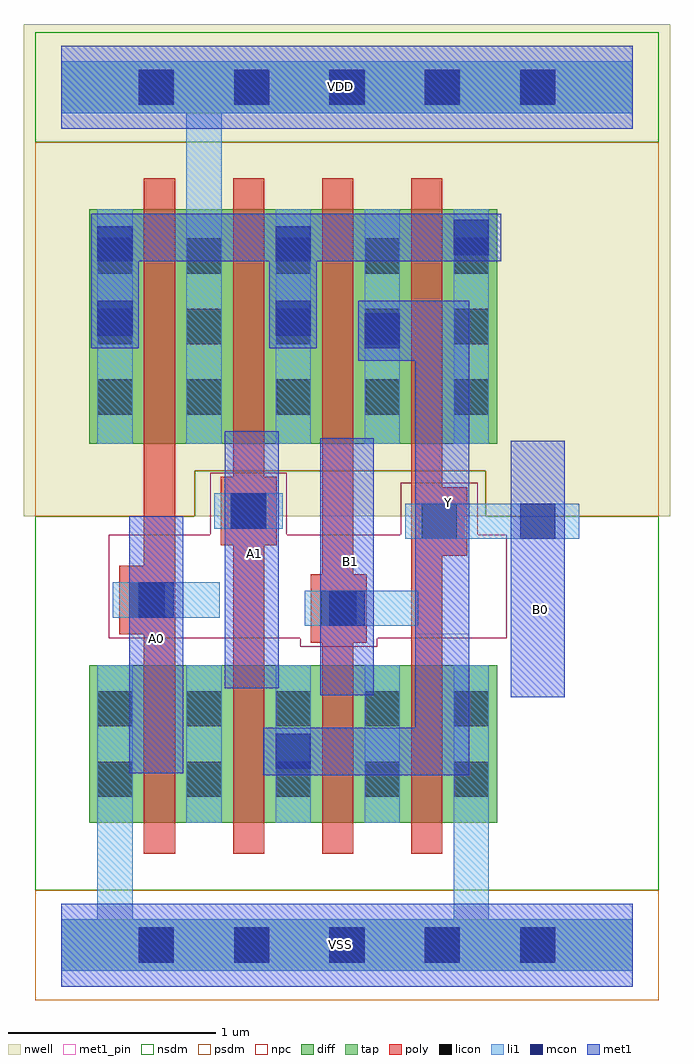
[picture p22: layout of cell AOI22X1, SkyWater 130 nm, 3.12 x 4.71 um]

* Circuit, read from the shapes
.subckt AOI22X1 A0 A1 B0 B1 VDD VSS Y
XM1 n1 A0 VSS VSS sky130_fd_pr__nfet_01v8 w=0.76 l=0.15
XM2 Y A1 n1 VSS sky130_fd_pr__nfet_01v8 w=0.76 l=0.15
XM3 n2 B1 Y VSS sky130_fd_pr__nfet_01v8 w=0.76 l=0.15
XM4 VSS B0 n2 VSS sky130_fd_pr__nfet_01v8 w=0.76 l=0.15
XM5 VDD A0 n3 VDD sky130_fd_pr__pfet_01v8 w=1.13 l=0.15
XM6 n3 A1 VDD VDD sky130_fd_pr__pfet_01v8 w=1.13 l=0.15
XM7 Y B1 n3 VDD sky130_fd_pr__pfet_01v8 w=1.13 l=0.15
XM8 n3 B0 Y VDD sky130_fd_pr__pfet_01v8 w=1.13 l=0.15
.ends

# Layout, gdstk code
import gdstk
lib = gdstk.Library(unit=1e-6, precision=1e-09)
def R(c, l, rs):  # rectangles x0, y0, x1, y1
    for r in rs: c.add(gdstk.rectangle(r[:2], r[2:], *l))
def A(c, l, x, y, w, h, nx, ny, dx, dy):  # array of equal rectangles
    R(c, l, [(x+i*dx, y+j*dy, x+i*dx+w, y+j*dy+h) for i in range(nx) for j in range(ny)])
def P(c, l, *ps):  # polygons
    for p in ps: c.add(gdstk.Polygon(p, *l))
nwell = (64, 20)
diff = (65, 20)
tap = (65, 44)
poly = (66, 20)
licon = (66, 44)
li1 = (67, 20)
mcon = (67, 44)
met1_pin = (68, 16)
met1 = (68, 20)
nsdm = (93, 44)
psdm = (94, 20)
npc = (95, 20)

pyl1con_c_cdns_751554744 = lib.new_cell('PYL1CON_C_CDNS_751554744751')
R(pyl1con_c_cdns_751554744, poly, [(-0.135,-0.165,0.135,0.165)])
R(pyl1con_c_cdns_751554744, licon, [(-0.085,-0.085,0.085,0.085)])
R(pyl1con_c_cdns_751554744, npc, [(-0.185,-0.185,0.185,0.185)])

licondiff_c_cdns_7515547 = lib.new_cell('LICONDIFF_C_CDNS_751554744755')
R(licondiff_c_cdns_7515547, diff, [(-0.125,-0.145,0.125,0.145)])
R(licondiff_c_cdns_7515547, licon, [(-0.085,-0.085,0.085,0.085), (-0.085,-0.085,0.085,0.085)])

aoi22x1 = lib.new_cell('AOI22X1')
R(aoi22x1, nwell, [(-0.18,2.07,2.94,4.445)])
R(aoi22x1, diff, [(0.135,0.59,2.105,1.35), (0.135,2.42,2.105,3.55)])
A(aoi22x1, poly, 0.4, 0.44, 0.15, 3.26, 4, 1, 0.43, 0)
A(aoi22x1, licon, 0.375, -0.085, 0.17, 0.17, 5, 2, 0.46, 4.14)
A(aoi22x1, licon, 0.175, 0.715, 0.17, 0.17, 3, 2, 0.86, 0.34)
A(aoi22x1, licon, 0.175, 2.56, 0.17, 0.17, 5, 3, 0.43, 0.34)
A(aoi22x1, li1, 1.035, 2.42, 0.17, 1.13, 3, 1, 0.43, 0)
R(aoi22x1, li1, [(1.035,0.59,1.205,1.35), (1.035,0.77,1.205,1.1), (1.215,1.54,1.545,1.71), (0.295,1.58,0.625,1.75), (2.135,1.96,2.465,2.13), (0.74,2.01,1.07,2.18), (0.175,2.42,0.345,3.55), (1.465,2.8,1.635,3.13), (0.175,2.86,0.345,3.55), (1.035,2.86,1.205,3.55), (1.895,3.33,2.065,3.5)])
P(aoi22x1, li1, [(0,-0.125),(0,0.125),(0.175,0.125),(0.175,1.35),(0.345,1.35),(0.345,0.125),(1.895,0.125),(1.895,1.35),(2.065,1.35),(2.065,0.125),(2.76,0.125),(2.76,-0.125)],
  [(0.605,2.42),(0.605,4.015),(0,4.015),(0,4.265),(2.76,4.265),(2.76,4.015),(0.775,4.015),(0.775,2.42)])
A(aoi22x1, mcon, 0.375, -0.085, 0.17, 0.17, 5, 2, 0.46, 4.14)
R(aoi22x1, mcon, [(1.035,0.85,1.205,1.02), (1.295,1.54,1.465,1.71), (0.375,1.58,0.545,1.75), (2.215,1.96,2.385,2.13), (0.82,2.01,0.99,2.18), (1.465,2.88,1.635,3.05), (0.175,2.94,0.345,3.11), (1.035,2.94,1.205,3.11), (0.175,3.3,0.345,3.47), (1.035,3.3,1.205,3.47), (1.895,3.33,2.065,3.5)])
R(aoi22x1, met1_pin, [(0.33,0.83,0.59,2.07), (2.17,1.195,2.43,2.435), (1.25,1.205,1.51,2.445), (0.79,1.24,1.05,2.48), (1.71,1.5,1.97,3.11)])
R(aoi22x1, met1, [(0.975,0.82,1.265,1.05), (1.265,1.48,1.495,1.77), (0.345,1.52,0.575,1.81), (2.185,1.9,2.415,2.19), (0.79,1.95,1.02,2.24), (1.435,2.82,1.665,3.11), (0.145,2.88,0.375,3.53), (1.005,2.88,1.235,3.53), (1.835,3.3,2.125,3.53)])
P(aoi22x1, met1, [(1.12,0.82),(1.12,1.05),(1.71,1.05),(1.71,2.82),(1.435,2.82),(1.435,3.11),(1.97,3.11),(1.97,0.82)])
R(aoi22x1, nsdm, [(-0.125,3.875,2.885,4.405)])
P(aoi22x1, nsdm, [(-0.125,0.265),(-0.125,2.07),(0.645,2.07),(0.645,2.29),(2.05,2.29),(2.05,2.07),(2.885,2.07),(2.885,0.265)])
R(aoi22x1, psdm, [(-0.125,-0.265,2.885,0.265)])
P(aoi22x1, psdm, [(-0.125,2.07),(-0.125,3.875),(2.885,3.875),(2.885,2.07),(2.05,2.07),(2.05,2.29),(0.645,2.29),(0.645,2.07)])
R(aoi22x1, npc, [(0.23,1.48,2.15,1.98)])
aoi22x1.add(gdstk.FlexPath([(2.5,2.045),(1.66,2.045)], 0.17, ends="flush", simple_path=True, layer=67, datatype=20))  # li1
aoi22x1.add(gdstk.FlexPath([(0.25,1.665),(0.765,1.665)], 0.17, ends="flush", simple_path=True, layer=67, datatype=20))  # li1
aoi22x1.add(gdstk.FlexPath([(1.175,1.625),(1.725,1.625)], 0.17, ends="flush", simple_path=True, layer=67, datatype=20))  # li1
aoi22x1.add(gdstk.FlexPath([(0.69,0.59),(0.69,1.35)], 0.17, ends="flush", simple_path=True, layer=67, datatype=20))  # li1
aoi22x1.add(gdstk.FlexPath([(1.55,0.59),(1.55,1.35)], 0.17, ends="flush", simple_path=True, layer=67, datatype=20))  # li1
aoi22x1.add(gdstk.FlexPath([(0.46,2.07),(0.46,0.83)], 0.26, ends="flush", simple_path=True, layer=68, datatype=20))  # met1
aoi22x1.add(gdstk.FlexPath([(2.3,2.435),(2.3,1.195)], 0.26, ends="flush", simple_path=True, layer=68, datatype=20))  # met1
aoi22x1.add(gdstk.FlexPath([(1.38,2.445),(1.38,1.205)], 0.26, ends="flush", simple_path=True, layer=68, datatype=20))  # met1
aoi22x1.add(gdstk.FlexPath([(0.92,2.48),(0.92,1.24)], 0.26, ends="flush", simple_path=True, layer=68, datatype=20))  # met1
aoi22x1.add(gdstk.FlexPath([(0.26,3.415),(1.98,3.415)], 0.23, ends=(0.115, 0), simple_path=True, layer=68, datatype=20))  # met1
aoi22x1.add(gdstk.FlexPath([(0,0),(2.76,0)], 0.4, ends="flush", simple_path=True, layer=68, datatype=20))  # met1
aoi22x1.add(gdstk.FlexPath([(0,4.14),(2.76,4.14)], 0.4, ends="flush", simple_path=True, layer=68, datatype=20))  # met1
aoi22x1.add(gdstk.FlexPath([(0,0),(2.76,0)], 0.25, ends="flush", simple_path=True, layer=65, datatype=44))  # tap
aoi22x1.add(gdstk.FlexPath([(0,4.14),(2.76,4.14)], 0.25, ends="flush", simple_path=True, layer=65, datatype=44))  # tap
aoi22x1.add(gdstk.FlexPath([(0,0),(2.76,0)], 0.4, ends="flush", simple_path=True, layer=68, datatype=16))  # met1_pin
aoi22x1.add(gdstk.FlexPath([(0,4.14),(2.76,4.14)], 0.4, ends="flush", simple_path=True, layer=68, datatype=16))  # met1_pin
aoi22x1.add(gdstk.Reference(pyl1con_c_cdns_751554744, (1.34,1.625)))
aoi22x1.add(gdstk.Reference(pyl1con_c_cdns_751554744, (0.415,1.665)))
aoi22x1.add(gdstk.Reference(pyl1con_c_cdns_751554744, (1.825,2.045)))
aoi22x1.add(gdstk.Reference(pyl1con_c_cdns_751554744, (0.905,2.095)))
aoi22x1.add(gdstk.Reference(licondiff_c_cdns_7515547, (0.69,0.8)))
aoi22x1.add(gdstk.Reference(licondiff_c_cdns_7515547, (1.55,0.8)))
aoi22x1.add(gdstk.Reference(licondiff_c_cdns_7515547, (0.69,1.14)))
aoi22x1.add(gdstk.Reference(licondiff_c_cdns_7515547, (1.55,1.14)))
aoi22x1.add(gdstk.Label('VDD', (1.35,4.145), layer=68, texttype=5))
aoi22x1.add(gdstk.Label('Y', (1.87,2.135), layer=68, texttype=5))
aoi22x1.add(gdstk.Label('A1', (0.935,1.89), layer=68, texttype=5))
aoi22x1.add(gdstk.Label('A0', (0.46,1.48), layer=68, texttype=5))
aoi22x1.add(gdstk.Label('B1', (1.395,1.85), layer=68, texttype=5))
aoi22x1.add(gdstk.Label('B0', (2.315,1.62), layer=68, texttype=5))
aoi22x1.add(gdstk.Label('VSS', (1.35,0.005), layer=68, texttype=5))

lib.write_gds('AOI22X1.gds')
